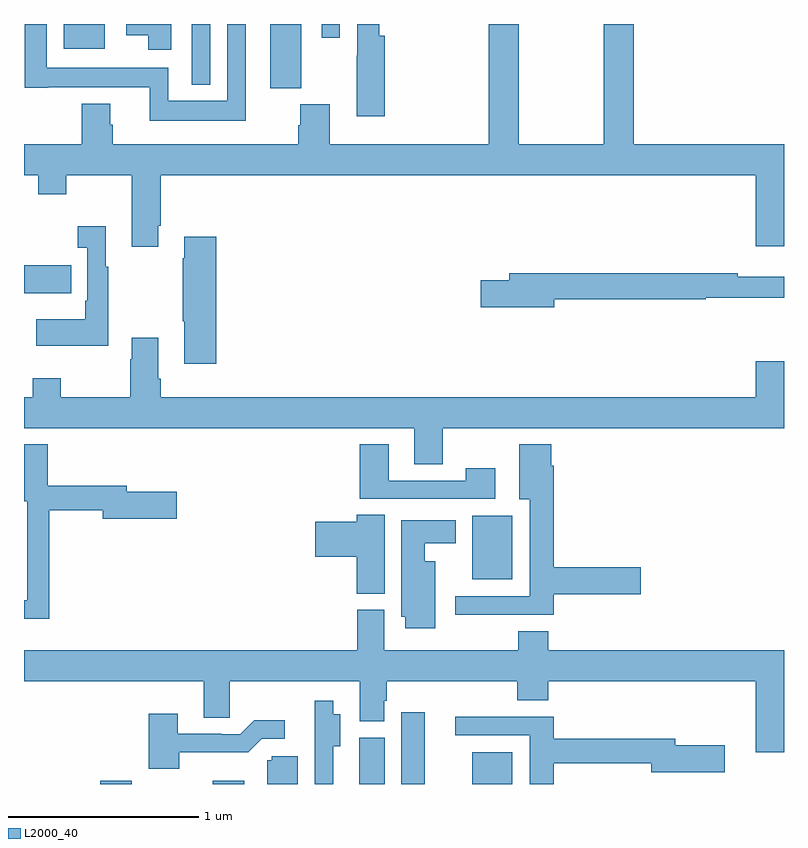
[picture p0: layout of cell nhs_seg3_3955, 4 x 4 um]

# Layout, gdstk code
import gdstk
lib = gdstk.Library(unit=1e-6, precision=1e-09)
def R(c, l, rs):  # rectangles x0, y0, x1, y1
    for r in rs: c.add(gdstk.rectangle(r[:2], r[2:], *l))
def P(c, l, *ps):  # polygons
    for p in ps: c.add(gdstk.Polygon(p, *l))
L2000_40 = (2000, 40)

nhs_seg3_3955 = lib.new_cell('nhs_seg3_3955')
R(nhs_seg3_3955, L2000_40, [(317.402,676.4,317.568,676.417), (317.993,676.4,318.16,676.417), (318.764,676.4,318.898,676.644), (318.986,676.4,319.108,676.777), (319.358,676.4,319.57,676.567), (319.358,677.477,319.57,677.812), (317,678.983,317.249,679.131), (318.296,680.062,318.46,680.4), (317.883,680.081,317.979,680.4), (317.21,680.27,317.425,680.4), (318.567,680.328,318.663,680.4)])
P(nhs_seg3_3955, L2000_40, [(317.707,679.339),(317.72,679.339),(317.72,679.604),(320.852,679.604),(320.852,679.23),(321,679.23),(321,679.768),(320.21,679.768),(320.21,680.4),(320.05,680.4),(320.05,679.768),(319.605,679.768),(319.605,680.4),(319.445,680.4),(319.445,679.768),(318.608,679.768),(318.608,679.977),(318.455,679.977),(318.455,679.868),(318.443,679.868),(318.443,679.768),(317.468,679.768),(317.468,679.869),(317.455,679.869),(317.455,679.981),(317.303,679.981),(317.303,679.768),(317,679.768),(317,679.604),(317.075,679.604),(317.075,679.505),(317.223,679.505),(317.223,679.604),(317.567,679.604),(317.567,679.227),(317.707,679.227)],
  [(318.166,680.4),(318.069,680.4),(318.069,679.996),(317.76,679.996),(317.76,680.17),(317.121,680.17),(317.121,680.4),(317.005,680.4),(317.005,680.064),(317.128,680.064),(317.128,680.066),(317.663,680.066),(317.663,679.892),(318.166,679.892)],
  [(318.899,680.338),(318.869,680.338),(318.869,680.4),(318.753,680.4),(318.753,680.234),(318.752,680.234),(318.752,679.914),(318.899,679.914)],
  [(317.776,680.4),(317.537,680.4),(317.537,680.342),(317.654,680.342),(317.654,680.265),(317.776,680.265)],
  [(317.443,679.123),(317.431,679.123),(317.431,679.336),(317.283,679.336),(317.283,679.223),(317.334,679.223),(317.334,678.943),(317.322,678.943),(317.322,678.847),(317.065,678.847),(317.065,678.707),(317.443,678.707)],
  [(318.011,679.279),(317.843,679.279),(317.843,679.166),(317.836,679.166),(317.836,678.835),(317.843,678.835),(317.843,678.612),(318.011,678.612)],
  [(319.792,678.952),(320.588,678.952),(320.588,678.96),(321,678.96),(321,679.069),(320.756,679.069),(320.756,679.088),(319.553,679.088),(319.553,679.052),(319.404,679.052),(319.404,678.91),(319.792,678.91)],
  [(319.203,678.272),(321,678.272),(321,678.625),(320.852,678.625),(320.852,678.436),(317.72,678.436),(317.72,678.532),(317.707,678.532),(317.707,678.748),(317.567,678.748),(317.567,678.635),(317.56,678.635),(317.56,678.436),(317.193,678.436),(317.193,678.535),(317.046,678.535),(317.046,678.436),(317,678.436),(317,678.272),(319.055,678.272),(319.055,678.082),(319.203,678.082)],
  [(319.787,677.398),(320.245,677.398),(320.245,677.54),(319.787,677.54),(319.787,678.074),(319.774,678.074),(319.774,678.187),(319.607,678.187),(319.607,677.9),(319.661,677.9),(319.661,677.388),(319.269,677.388),(319.269,677.291),(319.787,677.291)],
  [(319.48,678.061),(319.324,678.061),(319.324,677.997),(318.919,677.997),(318.919,678.187),(318.767,678.187),(318.767,677.901),(319.48,677.901)],
  [(317.132,677.842),(317.414,677.842),(317.414,677.795),(317.803,677.795),(317.803,677.937),(317.542,677.937),(317.542,677.971),(317.126,677.971),(317.126,678.187),(317,678.187),(317,677.889),(317.016,677.889),(317.016,677.367),(317,677.367),(317,677.27),(317.132,677.27)],
  [(318.898,677.816),(318.752,677.816),(318.752,677.78),(318.534,677.78),(318.534,677.597),(318.752,677.597),(318.752,677.401),(318.898,677.401)],
  [(319.165,677.572),(319.108,677.572),(319.108,677.666),(319.273,677.666),(319.273,677.788),(318.986,677.788),(318.986,677.28),(319.007,677.28),(319.007,677.22),(319.165,677.22)],
  [(321,677.104),(319.76,677.104),(319.76,677.203),(319.6,677.203),(319.6,677.104),(318.895,677.104),(318.895,677.316),(318.755,677.316),(318.755,677.104),(317,677.104),(317,676.94),(317.945,676.94),(317.945,676.75),(318.084,676.75),(318.084,676.94),(318.767,676.94),(318.767,676.729),(318.895,676.729),(318.895,676.839),(318.908,676.839),(318.908,676.94),(319.595,676.94),(319.595,676.841),(319.76,676.841),(319.76,676.94),(320.852,676.94),(320.852,676.566),(321,676.566)],
  [(318.628,676.598),(318.664,676.598),(318.664,676.768),(318.628,676.768),(318.628,676.837),(318.53,676.837),(318.53,676.614),(318.531,676.614),(318.531,676.4),(318.628,676.4)],
  [(317.817,676.566),(318.179,676.566),(318.252,676.638),(318.373,676.638),(318.373,676.735),(318.211,676.735),(318.138,676.662),(318.038,676.662),(318.038,676.665),(317.809,676.665),(317.809,676.771),(317.657,676.771),(317.657,676.481),(317.817,676.481)],
  [(319.787,676.51),(320.3,676.51),(320.3,676.463),(320.689,676.463),(320.689,676.605),(320.428,676.605),(320.428,676.639),(319.787,676.639),(319.787,676.754),(319.269,676.754),(319.269,676.656),(319.661,676.656),(319.661,676.4),(319.787,676.4)],
  [(318.442,676.545),(318.303,676.545),(318.303,676.524),(318.281,676.524),(318.281,676.4),(318.442,676.4)])

lib.write_gds('nhs_seg3_3955.gds')
